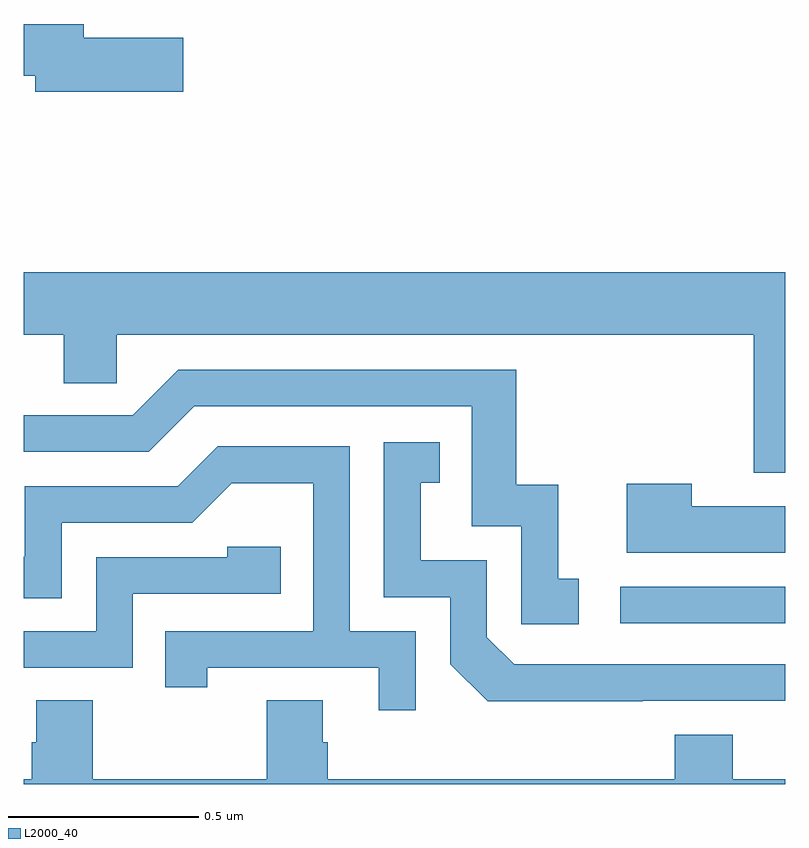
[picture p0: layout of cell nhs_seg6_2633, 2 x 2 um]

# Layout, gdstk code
import gdstk
lib = gdstk.Library(unit=1e-6, precision=1e-09)
def R(c, l, rs):  # rectangles x0, y0, x1, y1
    for r in rs: c.add(gdstk.rectangle(r[:2], r[2:], *l))
def P(c, l, *ps):  # polygons
    for p in ps: c.add(gdstk.Polygon(p, *l))
L2000_40 = (2000, 40)

nhs_seg6_2633 = lib.new_cell('nhs_seg6_2633')
R(nhs_seg6_2633, L2000_40, [(147.567,935.922,148,936.018)])
P(nhs_seg6_2633, L2000_40, [(146.419,937.46),(146.158,937.46),(146.158,937.496),(146,937.496),(146,937.36),(146.03,937.36),(146.03,937.318),(146.419,937.318)],
  [(148,936.844),(146,936.844),(146,936.68),(146.105,936.68),(146.105,936.553),(146.244,936.553),(146.244,936.68),(147.917,936.68),(147.917,936.318),(148,936.318)],
  [(147.457,936.039),(147.404,936.039),(147.404,936.286),(147.293,936.286),(147.293,936.588),(146.406,936.588),(146.286,936.468),(146,936.468),(146,936.372),(146.328,936.372),(146.448,936.492),(147.177,936.492),(147.177,936.177),(147.306,936.177),(147.306,935.919),(147.457,935.919)],
  [(147.626,935.718),(148,935.718),(148,935.814),(147.288,935.814),(147.216,935.886),(147.216,936.087),(147.043,936.087),(147.043,936.291),(147.092,936.291),(147.092,936.397),(146.946,936.397),(146.946,935.991),(147.12,935.991),(147.12,935.814),(147.218,935.717),(147.626,935.717)],
  [(147.03,935.901),(146.856,935.901),(146.856,936.387),(146.51,936.387),(146.405,936.282),(146.002,936.282),(146.002,936.097),(146,936.097),(146,935.988),(146.1,935.988),(146.1,936.186),(146.442,936.186),(146.546,936.29),(146.76,936.29),(146.76,935.901),(146.371,935.901),(146.371,935.754),(146.482,935.754),(146.482,935.805),(146.933,935.805),(146.933,935.694),(147.03,935.694)],
  [(148,936.229),(147.755,936.229),(147.755,936.289),(147.584,936.289),(147.584,936.107),(148,936.107)],
  [(146.286,936),(146.675,936),(146.675,936.123),(146.535,936.123),(146.535,936.096),(146.19,936.096),(146.19,935.901),(146,935.901),(146,935.805),(146.286,935.805)],
  [(148,935.512),(147.862,935.512),(147.862,935.629),(147.71,935.629),(147.71,935.512),(146.798,935.512),(146.798,935.61),(146.785,935.61),(146.785,935.72),(146.638,935.72),(146.638,935.512),(146.181,935.512),(146.181,935.72),(146.033,935.72),(146.033,935.61),(146.021,935.61),(146.021,935.512),(146,935.512),(146,935.5),(148,935.5)])

lib.write_gds('nhs_seg6_2633.gds')
